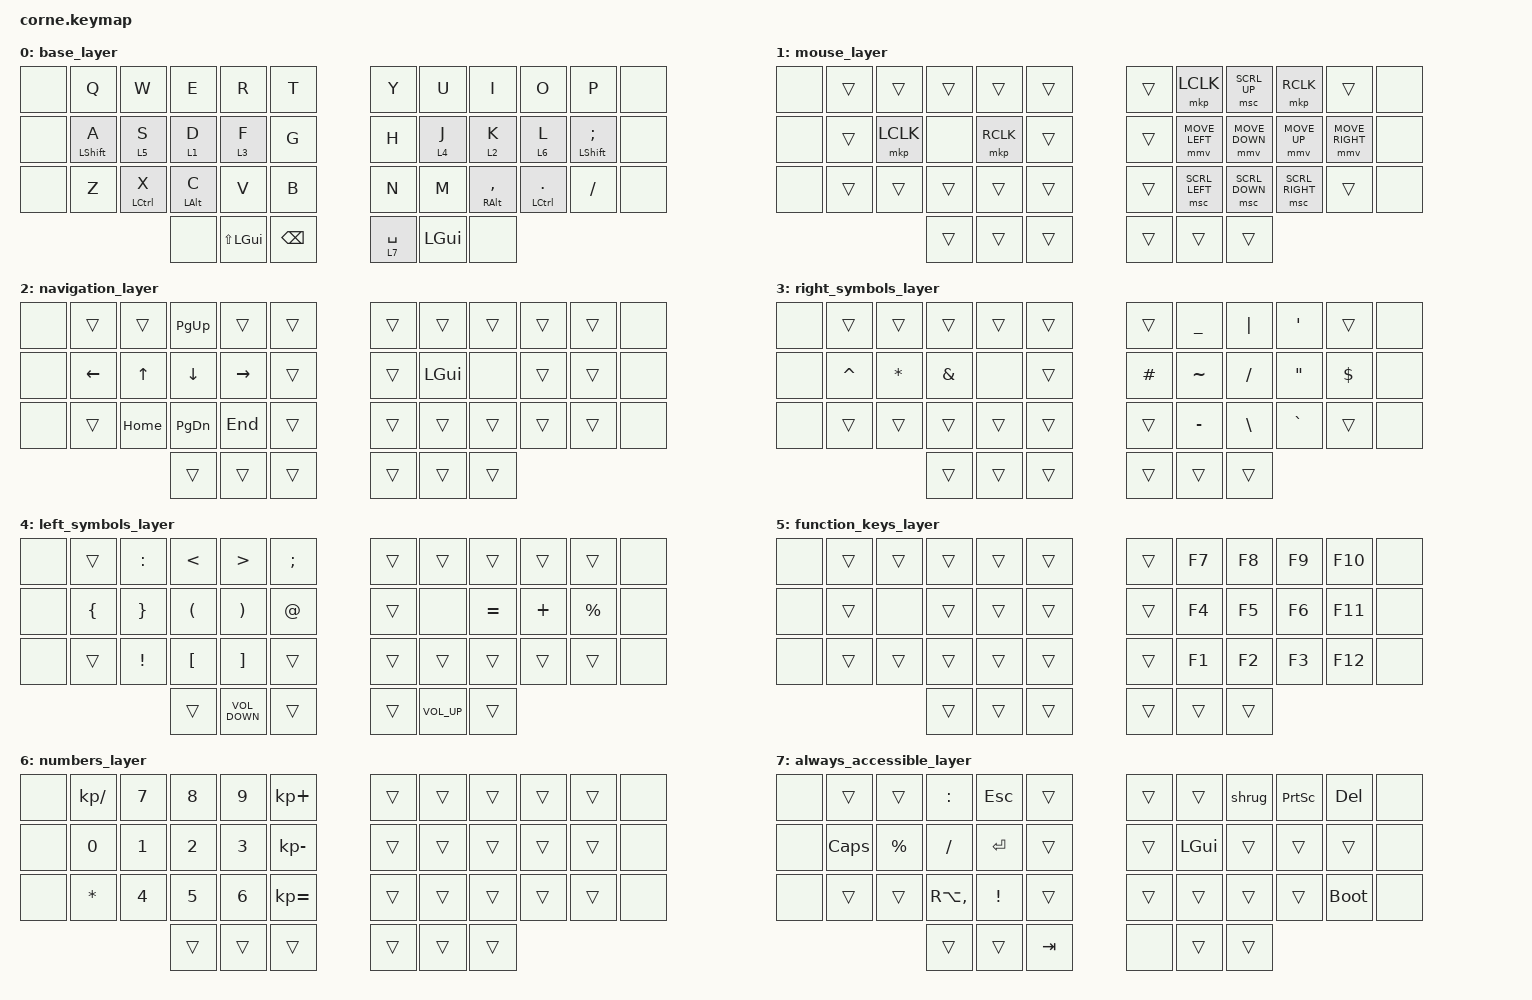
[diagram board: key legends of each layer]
/*
 * Copyright (c) 2020 The ZMK Contributors
 *
 * SPDX-License-Identifier: MIT
 */

#include <behaviors.dtsi>
#include <dt-bindings/zmk/keys.h>
#include <dt-bindings/zmk/bt.h>
#include <dt-bindings/zmk/pointing.h>

/ {
  behaviors {
    mt: mod_tap {
      compatible = "zmk,behavior-hold-tap";
      tapping-term-ms = <200>;
      flavor = "tap-preferred";
      bindings = <&kp>, <&kp>;
    };
  };

  macros {
    shrug: shrug {
      compatible = "zmk,behavior-macro";
      #binding-cells = <0>;
      bindings = <
        &macro_press   &kp LSHIFT
        &macro_tap     &kp EQUAL
        &macro_release &kp LSHIFT
        &kp BACKSLASH
        &macro_press   &kp LSHIFT
        &macro_tap     &kp MINUS
        &macro_release &kp LSHIFT
        &macro_press   &kp LSHIFT
        &macro_tap     &kp N9
        &macro_release &kp LSHIFT
        &macro_press   &kp LCTRL &kp LSHIFT
        &macro_tap     &kp U
        &macro_release &kp LCTRL &kp LSHIFT
        &macro_tap     &kp N3
        &macro_tap     &kp N0
        &macro_tap     &kp N7
        &macro_tap     &kp N6
        &macro_tap     &kp SPACE
        &macro_press   &kp LSHIFT
        &macro_tap     &kp N0
        &macro_release &kp LSHIFT
        &macro_press   &kp LSHIFT
        &macro_tap     &kp MINUS
        &macro_release &kp LSHIFT
        &kp SLASH
        &macro_press   &kp LSHIFT
        &macro_tap     &kp EQUAL
        &macro_release &kp LSHIFT
      >;
    };
  };

  keymap {
    compatible = "zmk,keymap";

    base_layer {
      bindings = <
        &none &kp Q        &kp W       &kp E      &kp R        &kp T         &kp Y       &kp U    &kp I          &kp O         &kp P           &none
        &none &mt LSHIFT A &lt 5 S     &lt 1 D    &lt 3 F      &kp G         &kp H       &lt 4 J  &lt 2 K        &lt 6 L       &mt LSHIFT SEMI &none
        &none &kp Z        &mt LCTRL X &mt LALT C &kp V        &kp B         &kp N       &kp M    &mt RALT COMMA &mt LCTRL DOT &kp SLASH       &none
                                       &none      &kp LS(LGUI) &kp BSPC      &lt 7 SPACE &kp LGUI &none
      >;
    };

    mouse_layer {
      bindings = <
        &none &trans &trans    &trans &trans    &trans            &trans &mkp LCLK      &msc SCRL_UP   &mkp RCLK       &trans          &none
        &none &trans &mkp LCLK &none  &mkp RCLK &trans            &trans &mmv MOVE_LEFT &mmv MOVE_DOWN &mmv MOVE_UP    &mmv MOVE_RIGHT &none
        &none &trans &trans    &trans &trans    &trans            &trans &msc SCRL_LEFT &msc SCRL_DOWN &msc SCRL_RIGHT &trans          &none
                               &trans &trans    &trans            &trans &trans         &trans
      >;
    };

    navigation_layer {
      bindings = <
        &none &trans   &trans   &kp PG_UP &trans    &trans        &trans &trans   &trans &trans &trans &none
        &none &kp LEFT &kp UP   &kp DOWN  &kp RIGHT &trans        &trans &kp LGUI &none  &trans &trans &none
        &none &trans   &kp HOME &kp PG_DN &kp END   &trans        &trans &trans   &trans &trans &trans &none
                                &trans    &trans    &trans        &trans &trans   &trans
      >;
    };

    right_symbols_layer {
      bindings = <
        &none &trans    &trans   &trans   &trans &trans           &trans   &kp UNDER &kp PIPE  &kp SQT   &trans     &none
        &none &kp CARET &kp STAR &kp AMPS &none  &trans           &kp HASH &kp TILDE &kp SLASH &kp DQT   &kp DOLLAR &none
        &none &trans    &trans   &trans   &trans &trans           &trans   &kp MINUS &kp BSLH  &kp GRAVE &trans     &none
                                 &trans   &trans &trans           &trans   &trans    &trans
      >;
    };

    left_symbols_layer {
      bindings = <
        &none &trans         &kp COLON       &kp LESS_THAN &kp GREATER_THAN  &kp SEMI     &trans &trans          &trans    &trans   &trans      &none
        &none &kp LEFT_BRACE &kp RIGHT_BRACE &kp LPAR      &kp RPAR          &kp AT       &trans &none           &kp EQUAL &kp PLUS &kp PERCENT &none
        &none &trans         &kp EXCLAMATION &kp LBKT      &kp RBKT          &trans       &trans &trans          &trans    &trans   &trans      &none
                                             &trans        &kp K_VOLUME_DOWN &trans       &trans &kp K_VOLUME_UP &trans
      >;
    };

    function_keys_layer {
      bindings = <
        &none &trans &trans &trans &trans &trans                  &trans &kp F7 &kp F8 &kp F9 &kp F10 &none
        &none &trans &none  &trans &trans &trans                  &trans &kp F4 &kp F5 &kp F6 &kp F11 &none
        &none &trans &trans &trans &trans &trans                  &trans &kp F1 &kp F2 &kp F3 &kp F12 &none
                            &trans &trans &trans                  &trans &trans &trans
      >;
    };

    numbers_layer {
      bindings = <
        &none &kp KP_DIVIDE &kp N7 &kp N8 &kp N9 &kp KP_PLUS       &trans &trans &trans &trans &trans &none
        &none &kp N0        &kp N1 &kp N2 &kp N3 &kp KP_MINUS      &trans &trans &trans &trans &trans &none
        &none &kp STAR      &kp N4 &kp N5 &kp N6 &kp KP_EQUAL      &trans &trans &trans &trans &trans &none
                                  &trans  &trans &trans            &trans &trans &trans
      >;
    };

    always_accessible_layer {
      bindings = <
        &none &trans   &trans    &kp COLON     &kp ESC   &trans        &trans &trans   &shrug &kp PSCRN &kp DEL     &none
        &none &kp CAPS &kp PRCNT &kp FSLH      &kp ENTER &trans        &trans &kp LGUI &trans &trans    &trans      &none
        &none &trans   &trans    &kp RA(COMMA) &kp EXCL  &trans        &trans &trans   &trans &trans    &bootloader &none
                                 &trans        &trans    &kp TAB       &none  &trans   &trans
      >;
    };
  };
};
